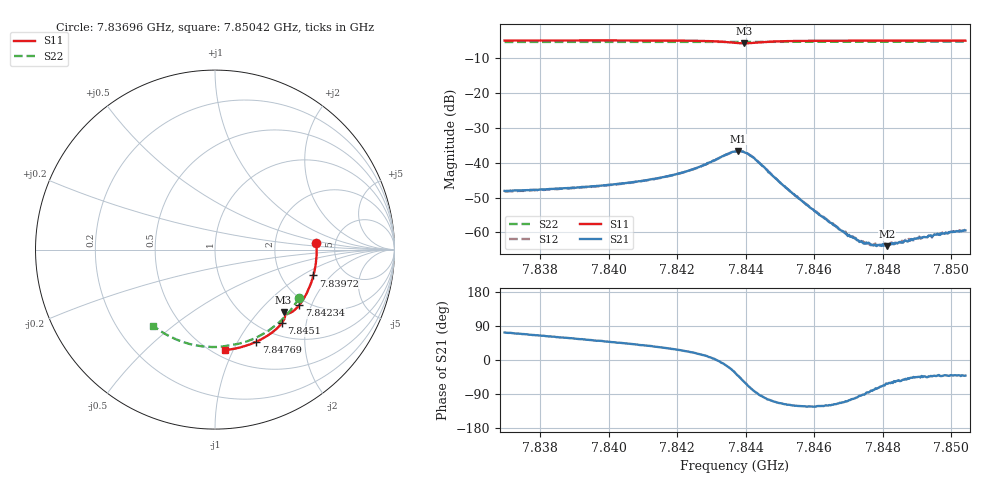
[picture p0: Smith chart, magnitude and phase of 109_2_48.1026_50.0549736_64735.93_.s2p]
#  HZ  S  RI  R  50.00
! Rohde & Schwarz Vector Network Analyzer
! Rohde-Schwarz,ZNB20-2Port,1311601062101988,3.16
! Created: UTC 12/23/2023, 3:45:34 AM
! freq[Hz]  re:S11  im:S11  re:S21  im:S21  re:S12  im:S12  re:S22  im:S22
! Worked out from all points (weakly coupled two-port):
!   401 points, 7.83696 GHz to 7.85042 GHz, reference 50 ohm
!   highest |S21| = -36.61 dB at 7.84379 GHz (marker M1); lowest = -63.9 dB at 7.84813 GHz (marker M2)
!   lowest |S11| = -5.7 dB at 7.84396 GHz (marker M3), VSWR 3.13, Z = 73.1 - j69.1 ohm
!   |S11| at or under -10 dB: nowhere
!   |S22| runs from -5.4 to -5.3 dB; largest |S21 - S12| = 0.00037
!   S11 on the Smith chart (normalised r, x): 7.83696 GHz: 3.56, +0.40; 7.83972 GHz: 3.02, -1.28; 7.84234 GHz: 1.82, -1.64; 7.8451 GHz: 1.24, -1.46; 7.84769 GHz: 0.80, -1.20; 7.85042 GHz: 0.57, -0.93
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7.836957e9  0.5649 0.0383  0.00118 0.00377  0.0012 0.00371  0.4686 -0.2674
7.839212e9  0.556 -0.1112  0.00257 0.00369  0.00254 0.00359  0.3719 -0.3919
7.839716e9  0.5484 -0.1442  0.00295 0.00362  0.00291 0.00357  0.3456 -0.4156
7.840591e9  0.53 -0.2006  0.0038 0.00353  0.00374 0.00353  0.2964 -0.4526
7.841467e9  0.5048 -0.2553  0.005 0.00341  0.00498 0.00339  0.2435 -0.4834
7.842342e9  0.4705 -0.3082  0.00714 0.00286  0.00715 0.00287  0.1871 -0.508
7.843183e9  0.4214 -0.3511  0.0114 -0.000345  0.0113 -0.000299  0.1303 -0.5247
7.843688e9  0.3861 -0.3541  0.0121 -0.00803  0.012 -0.00771  0.0964 -0.5303
7.843789e9  0.3826 -0.3508  0.011 -0.00991  0.0109 -0.00983  0.0899 -0.5316
7.843957e9  0.3824 -0.3469  0.00755 -0.012  0.00766 -0.0121  0.0794 -0.5333
7.844092e9  0.3856 -0.3473  0.00454 -0.0124  0.00451 -0.0124  0.0708 -0.5349
7.844294e9  0.3905 -0.3553  0.000868 -0.011  0.000975 -0.011  0.0575 -0.5373
7.845101e9  0.373 -0.4084  -0.00205 -0.00424  -0.00207 -0.00428  0.00123 -0.5427
7.845943e9  0.3307 -0.4519  -0.00118 -0.00183  -0.0012 -0.00186  -0.0582 -0.5406
7.846986e9  0.2715 -0.4925  -0.000274 -0.000844  -0.000269 -0.000922  -0.1307 -0.5285
7.84739e9  0.2474 -0.5054  -3.83e-05 -0.000739  -5.74e-05 -0.000746  -0.1579 -0.5214
7.847693e9  0.2289 -0.5142  9.76e-05 -0.000654  0.000103 -0.000655  -0.1784 -0.5146
7.847895e9  0.2164 -0.5196  0.000195 -0.000631  0.000195 -0.000628  -0.1917 -0.51
7.84813e9  0.2019 -0.5256  0.000287 -0.000568  0.000286 -0.000596  -0.2071 -0.5041
7.848198e9  0.1977 -0.5271  0.00034 -0.000594  0.000326 -0.000598  -0.2114 -0.5023
7.849544e9  0.1113 -0.5517  0.000689 -0.000624  0.000714 -0.000635  -0.2951 -0.4591
7.850419e9  0.0536 -0.5598  0.000804 -0.000705  0.000826 -0.000726  -0.3451 -0.4234
